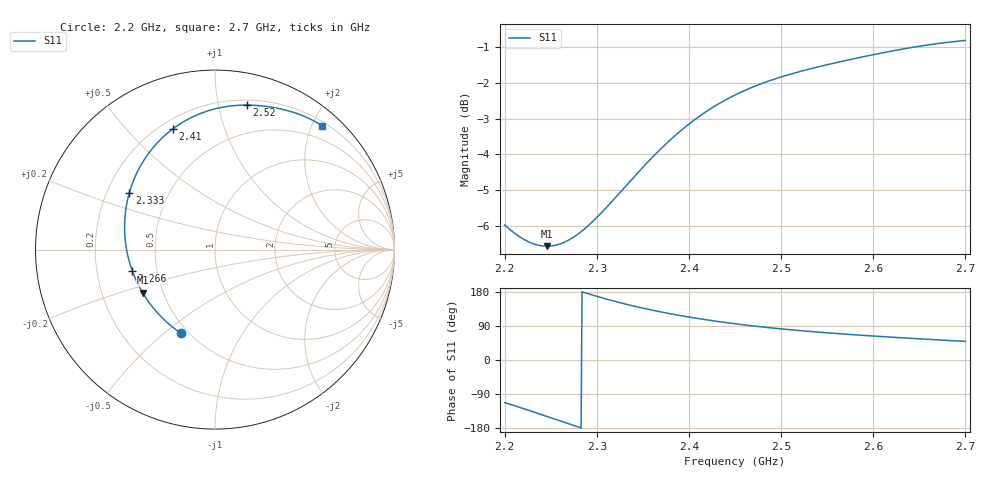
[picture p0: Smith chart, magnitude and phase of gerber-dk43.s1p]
! PRELIMINARY bare PCB unless shell_eps > 0; see README.md
! L220 output ($1N324); all Gerber copper, components omitted (C216/L220/C217 not populated)
# Hz S RI R 50
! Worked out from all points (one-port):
!   501 points, 2.2 GHz to 2.7 GHz, reference 50 ohm
!   lowest |S11| = -6.6 dB at 2.246 GHz (marker M1), VSWR 2.77, Z = 19.2 - j11.8 ohm
!   |S11| at or under -10 dB: nowhere
!   S11 on the Smith chart (normalised r, x): 2.2 GHz: 0.46, -0.57; 2.266 GHz: 0.36, -0.11; 2.333 GHz: 0.29, +0.28; 2.41 GHz: 0.25, +0.68; 2.52 GHz: 0.24, +1.21; 2.7 GHz: 0.26, +2.16
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2.2e9  -0.1913 -0.4647
2.208e9  -0.2344 -0.4331
2.221e9  -0.2995 -0.3745
2.234e9  -0.3573 -0.3078
2.246e9  -0.4032 -0.24
2.263e9  -0.4542 -0.136
2.266e9  -0.4614 -0.117
2.281e9  -0.489 -0.0194
2.295e9  -0.502 0.0732
2.31e9  -0.5024 0.1717
2.325e9  -0.4894 0.2672
2.333e9  -0.4775 0.3162
2.347e9  -0.4489 0.3974
2.361e9  -0.4118 0.4721
2.375e9  -0.3677 0.5392
2.388e9  -0.3217 0.5943
2.41e9  -0.2368 0.6711
2.43e9  -0.1558 0.7234
2.45e9  -0.0749 0.7607
2.479e9  0.0367 0.7923
2.513e9  0.1543 0.8049
2.52e9  0.1766 0.8051
2.546e9  0.2537 0.8013
2.575e9  0.3311 0.7906
2.606e9  0.4062 0.7737
2.638e9  0.4772 0.7507
2.672e9  0.5456 0.7199
2.7e9  0.5957 0.69
